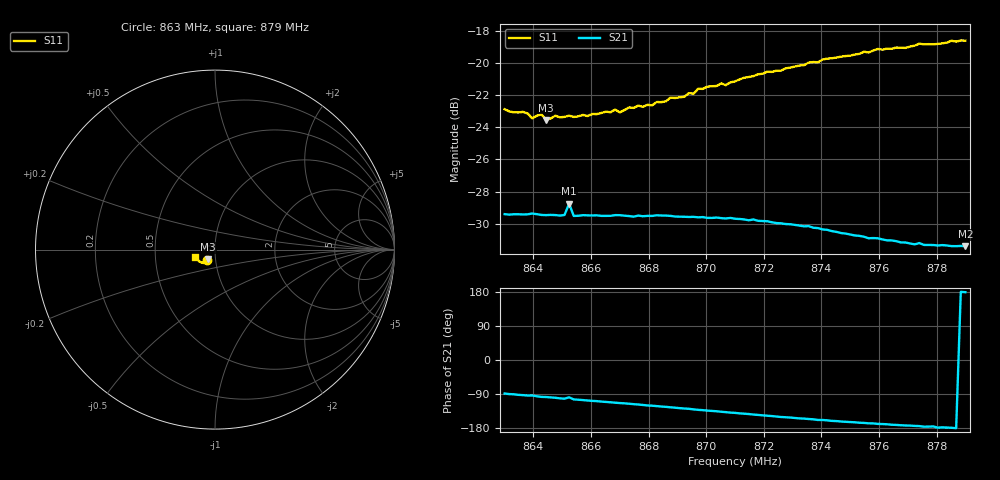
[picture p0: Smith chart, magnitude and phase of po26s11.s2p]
# HZ S RI R 50
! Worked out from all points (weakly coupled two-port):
!   101 points, 863 MHz to 879 MHz, reference 50 ohm
!   highest |S21| = -28.75 dB at 865.24 MHz (marker M1); lowest = -31.4 dB at 879 MHz (marker M2)
!   lowest |S11| = -23.5 dB at 864.44 MHz (marker M3), VSWR 1.14, Z = 46 - j5.02 ohm
!   |S11| at or under -10 dB: start of sweep to end of sweep
!   S12 and S22 are empty: the file has one direction only
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8.63e8  -0.0439 -0.0569  0.000891 -0.0338  0 0  0 0
8.6364e8  -0.0423 -0.0563  -0.00161 -0.0337  0 0  0 0
8.6396e8  -0.0398 -0.0542  -0.00216 -0.0339  0 0  0 0
8.6428e8  -0.04 -0.0565  -0.00431 -0.0334  0 0  0 0
8.6444e8  -0.0384 -0.0543  -0.00448 -0.0333  0 0  0 0
8.6476e8  -0.0386 -0.0567  -0.00564 -0.0331  0 0  0 0
8.6508e8  -0.0376 -0.0566  -0.00703 -0.0329  0 0  0 0
8.6524e8  -0.0293 -0.062  -0.00535 -0.0361  0 0  0 0
8.654e8  -0.0363 -0.0574  -0.00808 -0.0324  0 0  0 0
8.6572e8  -0.0361 -0.0587  -0.00912 -0.0323  0 0  0 0
8.6684e8  -0.0367 -0.0615  -0.0129 -0.031  0 0  0 0
8.67e8  -0.0356 -0.0605  -0.0135 -0.0308  0 0  0 0
8.6732e8  -0.0365 -0.0629  -0.0143 -0.0302  0 0  0 0
8.6844e8  -0.0373 -0.0657  -0.0182 -0.0282  0 0  0 0
8.6956e8  -0.0413 -0.0688  -0.0215 -0.0253  0 0  0 0
8.6972e8  -0.0435 -0.0708  -0.0219 -0.0248  0 0  0 0
8.71e8  -0.0486 -0.073  -0.0249 -0.0213  0 0  0 0
8.7372e8  -0.0681 -0.0742  -0.0282 -0.0122  0 0  0 0
8.7596e8  -0.0888 -0.0659  -0.0279 -0.00561  0 0  0 0
8.7644e8  -0.0917 -0.062  -0.0277 -0.00447  0 0  0 0
8.7724e8  -0.0986 -0.0557  -0.0271 -0.00288  0 0  0 0
8.79e8  -0.111 -0.0385  -0.0269 0.000491  0 0  0 0
